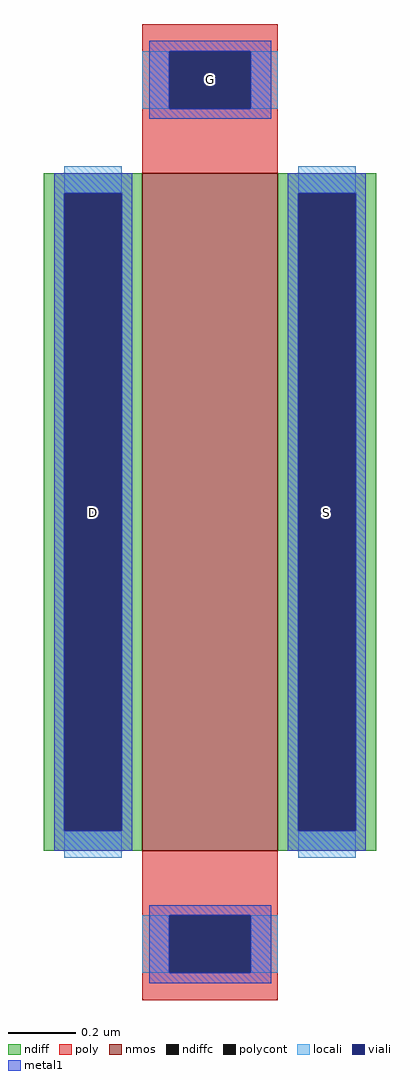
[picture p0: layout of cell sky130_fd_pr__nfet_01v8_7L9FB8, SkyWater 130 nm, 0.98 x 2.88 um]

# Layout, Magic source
magic
tech sky130A
magscale 1 2
<< nmos >>
rect -40 -200 40 200
<< ndiff >>
rect -98 188 -40 200
rect -98 -188 -86 188
rect -52 -188 -40 188
rect -98 -200 -40 -188
rect 40 188 98 200
rect 40 -188 52 188
rect 86 -188 98 188
rect 40 -200 98 -188
<< ndiffc >>
rect -86 -188 -52 188
rect 52 -188 86 188
<< poly >>
rect -40 272 40 288
rect -40 238 -24 272
rect 24 238 40 272
rect -40 200 40 238
rect -40 -238 40 -200
rect -40 -272 -24 -238
rect 24 -272 40 -238
rect -40 -288 40 -272
<< polycont >>
rect -24 238 24 272
rect -24 -272 24 -238
<< locali >>
rect -40 238 -24 272
rect 24 238 40 272
rect -86 188 -52 204
rect -86 -204 -52 -188
rect 52 188 86 204
rect 52 -204 86 -188
rect -40 -272 -24 -238
rect 24 -272 40 -238
<< viali >>
rect -24 238 24 272
rect -86 -188 -52 188
rect 52 -188 86 188
rect -24 -272 24 -238
<< metal1 >>
rect -36 272 36 278
rect -36 238 -24 272
rect 24 238 36 272
rect -36 232 36 238
rect -92 188 -46 200
rect -92 -188 -86 188
rect -52 -188 -46 188
rect -92 -200 -46 -188
rect 46 188 92 200
rect 46 -188 52 188
rect 86 -188 92 188
rect 46 -200 92 -188
rect -36 -238 36 -232
rect -36 -272 -24 -238
rect 24 -272 36 -238
rect -36 -278 36 -272
<< labels >>
rlabel ndiffc -69 0 -69 0 0 D
port 1 nsew
rlabel ndiffc 69 0 69 0 0 S
port 2 nsew
rlabel polycont 0 255 0 255 0 G
port 3 nsew
<< properties >>
string gencell sky130_fd_pr__nfet_01v8
string library sky130
string parameters w 2.0 l 0.4 m 1 nf 1 diffcov 100 polycov 100 guard 0 glc 0 grc 0 gtc 0 gbc 0 tbcov 100 rlcov 100 topc 1 botc 1 poverlap 0 doverlap 1 lmin 0.15 wmin 0.42 class mosfet compatible {sky130_fd_pr__nfet_01v8 sky130_fd_pr__nfet_01v8_lvt  sky130_fd_bs_flash__special_sonosfet_star  sky130_fd_pr__nfet_g5v0d10v5 sky130_fd_pr__nfet_05v0_nvt  sky130_fd_pr__nfet_03v3_nvt} full_metal 0 conn_gates 0 viasrc 100 viadrn 100 viagate 100 viagb 0 viagr 0 viagl 0 viagt 0 doports 1
<< end >>
